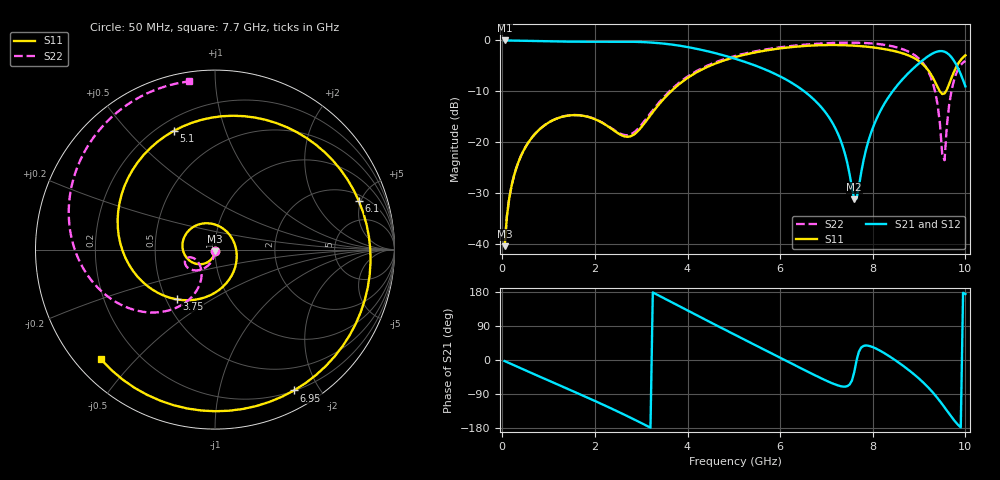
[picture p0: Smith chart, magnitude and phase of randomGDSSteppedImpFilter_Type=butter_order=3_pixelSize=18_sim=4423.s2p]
! freq	dB(S11)	phase(S11)	dB(S12)	phase(S12)
!  dB(S21)	phase(S21)	dB(S22)	phase(S22)
!S-par simulation data
#  GHz  S  DB  R 50
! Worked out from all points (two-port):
!   200 points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, 50 MHz to 10 GHz, reference 50 ohm
!   highest |S21| = -0.01 dB at 50 MHz (marker M1); lowest = -31.2 dB at 7.6 GHz (marker M2)
!   |S21| within 3 dB of the highest: start of sweep to 4.806 GHz; 9.211 GHz to 9.67 GHz (458.6 MHz wide, 4.86 % of centre)
!   lowest |S11| = -40.4 dB at 50 MHz (marker M3), VSWR 1.02, Z = 50 - j0.954 ohm
!   |S11| at or under -10 dB: start of sweep to 3.644 GHz; 9.449 GHz to 9.578 GHz (128.5 MHz wide, 1.35 % of centre)
!   |S22| runs from -40.4 to -0.4 dB; largest |S21 - S12| = 0
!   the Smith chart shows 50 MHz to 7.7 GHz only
!   S11 on the Smith chart (normalised r, x): 50 MHz: 1.00, -0.02; 3.75 GHz: 0.57, -0.36; 5.1 GHz: 0.26, +0.68; 6.1 GHz: 2.55, +4.83; 6.95 GHz: 0.20, -1.69; 7.7 GHz: 0.07, -0.40
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0.05  -40.40 -92.2  -0.01 -2.8  -0.01 -2.8  -40.38 -91.0
0.2  -28.55 -103.3  -0.02 -11.0  -0.02 -11.0  -28.53 -98.5
0.5  -20.97 -123.7  -0.07 -27.3  -0.07 -27.3  -20.95 -111.7
1.75  -14.80 147.2  -0.26 -94.4  -0.26 -94.4  -14.78 -157.1
2.75  -18.88 16.1  -0.25 -151.1  -0.25 -151.1  -18.52 -138.3
3.4  -12.37 -90.2  -0.55 168.9  -0.55 168.9  -12.03 -114.2
3.75  -9.12 -127.7  -0.93 146.7  -0.93 146.7  -8.83 -121.2
4.45  -5.11 167.2  -2.16 102.3  -2.16 102.3  -4.87 -144.5
5.05  -3.22 113.7  -3.66 64.9  -3.66 64.9  -3.00 -165.8
5.1  -3.10 109.2  -3.80 61.7  -3.80 61.7  -2.88 -167.5
5.6  -2.12 64.2  -5.42 30.7  -5.42 30.7  -1.91 175.2
6.1  -1.45 18.5  -7.54 -0.4  -7.54 -0.4  -1.24 158.1
6.7  -1.00 -37.1  -11.35 -37.2  -11.35 -37.2  -0.71 137.1
6.95  -0.92 -60.7  -13.79 -52.0  -13.79 -52.0  -0.57 128.1
7.6  -1.03 -125.6  -31.21 -32.0  -31.21 -32.0  -0.45 102.9
7.7  -1.09 -136.2  -28.68 21.9  -28.68 21.9  -0.46 98.7
8.35  -1.87 149.0  -11.01 10.5  -11.01 10.5  -1.01 68.1
8.75  -2.87 99.7  -6.60 -24.0  -6.60 -24.0  -2.10 44.0
9.2  -5.89 47.7  -3.07 -72.7  -3.07 -72.7  -6.10 3.4
9.55  -10.42 54.2  -2.21 -125.1  -2.21 -125.1  -23.52 -167.0
9.7  -7.34 63.1  -3.30 -150.2  -3.30 -150.2  -9.87 122.6
10  -2.92 36.4  -9.02 174.1  -9.02 174.1  -4.02 63.9
